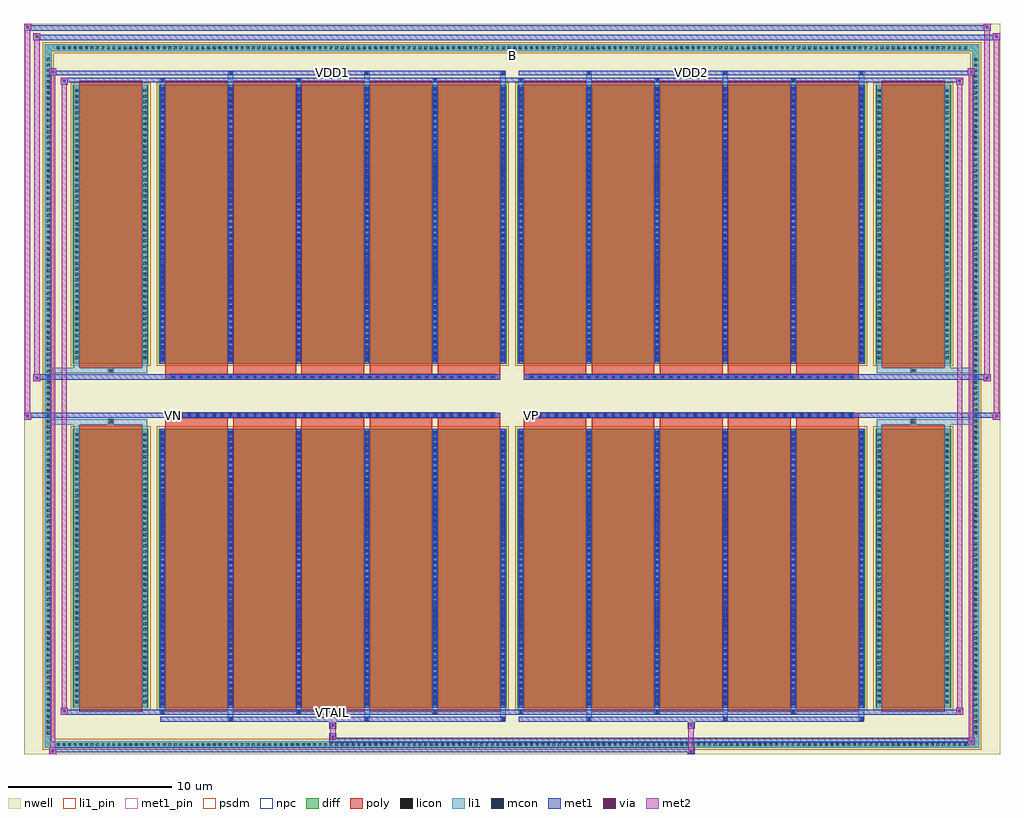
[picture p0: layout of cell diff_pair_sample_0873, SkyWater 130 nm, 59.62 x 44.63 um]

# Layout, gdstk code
import gdstk
lib = gdstk.Library(unit=1e-6, precision=5e-09)
def R(c, l, rs):  # rectangles x0, y0, x1, y1
    for r in rs: c.add(gdstk.rectangle(r[:2], r[2:], *l))
def A(c, l, x, y, w, h, nx, ny, dx, dy):  # array of equal rectangles
    R(c, l, [(x+i*dx, y+j*dy, x+i*dx+w, y+j*dy+h) for i in range(nx) for j in range(ny)])
def P(c, l, *ps):  # polygons
    for p in ps: c.add(gdstk.Polygon(p, *l))
nwell = (64, 20)
diff = (65, 20)
poly = (66, 20)
licon = (66, 44)
li1_pin = (67, 16)
li1 = (67, 20)
mcon = (67, 44)
met1_pin = (68, 16)
met1 = (68, 20)
via = (68, 44)
met2 = (69, 20)
psdm = (94, 20)
npc = (95, 20)

diff_pair_sample_0873 = lib.new_cell('diff_pair_sample_0873')
R(diff_pair_sample_0873, nwell, [(-29.81,-21.88,29.81,22.75), (-27.13,-20.07,-0.01,-0.805), (0.01,-20.07,27.13,-0.805), (-27.13,0.805,-0.01,20.07), (0.01,0.805,27.13,20.07)])
A(diff_pair_sample_0873, diff, -27.915, -21.48, 0.41, 0.41, 164, 2, 0.34, 42.55)
A(diff_pair_sample_0873, diff, -28.54, -20.775, 0.41, 0.41, 1, 122, 0, 0.34)
A(diff_pair_sample_0873, diff, 28.13, -20.775, 0.41, 0.41, 1, 122, 0, 0.34)
R(diff_pair_sample_0873, diff, [(-27.915,-21.48,27.915,-21.07), (-28.54,-20.775,-28.13,20.775), (28.13,-20.775,28.54,20.775), (-26.82,-19.025,-22.21,-1.985), (-21.57,-19.025,-0.32,-1.985), (0.32,-19.025,21.57,-1.985), (22.21,-19.025,26.82,-1.985), (-26.82,1.985,-22.21,19.025), (-21.57,1.985,-0.32,19.025), (0.32,1.985,21.57,19.025), (22.21,1.985,26.82,19.025), (-27.915,21.07,27.915,21.48)])
P(diff_pair_sample_0873, diff, [(28.54,21.48),(-28.54,21.48),(-28.54,-21.07),(-28.13,-21.07),(-28.13,21.07),(28.13,21.07),(28.13,-21.07),(-28.13,-21.07),(-28.54,-21.07),(-28.54,-21.48),(28.54,-21.48)])
A(diff_pair_sample_0873, poly, -21.18, -19.275, 3.83, 17.54, 5, 2, 4.16, 21.01)
A(diff_pair_sample_0873, poly, 0.71, -19.275, 3.83, 17.54, 5, 2, 4.16, 21.01)
A(diff_pair_sample_0873, poly, -21.18, -1.735, 3.83, 0.4, 5, 2, 4.16, 3.07)
A(diff_pair_sample_0873, poly, 0.71, -1.735, 3.83, 0.4, 5, 2, 4.16, 3.07)
A(diff_pair_sample_0873, poly, -20.86, -1.335, 0.33, 0.33, 40, 2, 0.5, 2.34)
A(diff_pair_sample_0873, poly, 1.03, -1.335, 0.33, 0.33, 40, 2, 0.5, 2.34)
R(diff_pair_sample_0873, poly, [(-26.43,-19.275,-22.6,-1.735), (22.6,-19.275,26.43,-1.735), (-24.68,-1.735,-24.35,-1.405), (-24.68,-1.735,-24.35,-1.405), (24.35,-1.735,24.68,-1.405), (24.35,-1.735,24.68,-1.405), (-21.18,-1.335,-0.71,-1.005), (0.71,-1.335,21.18,-1.005), (-21.18,1.005,-0.71,1.335), (0.71,1.005,21.18,1.335), (-24.68,1.405,-24.35,1.735), (-24.68,1.405,-24.35,1.735), (24.35,1.405,24.68,1.735), (24.35,1.405,24.68,1.735), (-26.43,1.735,-22.6,19.275), (22.6,1.735,26.43,19.275)])
A(diff_pair_sample_0873, licon, -27.795, -21.36, 0.17, 0.17, 164, 2, 0.34, 42.55)
A(diff_pair_sample_0873, licon, -28.42, -20.655, 0.17, 0.17, 1, 122, 0, 0.34)
A(diff_pair_sample_0873, licon, 28.25, -20.655, 0.17, 0.17, 1, 122, 0, 0.34)
A(diff_pair_sample_0873, licon, -26.68, -18.75, 0.17, 0.17, 1, 49, 0, 0.34)
A(diff_pair_sample_0873, licon, -22.52, -18.75, 0.17, 0.17, 1, 49, 0, 0.34)
A(diff_pair_sample_0873, licon, -21.43, -18.75, 0.17, 0.17, 6, 49, 4.16, 0.34)
A(diff_pair_sample_0873, licon, 0.46, -18.75, 0.17, 0.17, 6, 49, 4.16, 0.34)
A(diff_pair_sample_0873, licon, 22.35, -18.75, 0.17, 0.17, 1, 49, 0, 0.34)
A(diff_pair_sample_0873, licon, 26.51, -18.75, 0.17, 0.17, 1, 49, 0, 0.34)
A(diff_pair_sample_0873, licon, -20.78, -1.255, 0.17, 0.17, 40, 2, 0.5, 2.34)
A(diff_pair_sample_0873, licon, 1.11, -1.255, 0.17, 0.17, 40, 2, 0.5, 2.34)
A(diff_pair_sample_0873, licon, -26.68, 2.26, 0.17, 0.17, 1, 49, 0, 0.34)
A(diff_pair_sample_0873, licon, -22.52, 2.26, 0.17, 0.17, 1, 49, 0, 0.34)
A(diff_pair_sample_0873, licon, -21.43, 2.26, 0.17, 0.17, 6, 49, 4.16, 0.34)
A(diff_pair_sample_0873, licon, 0.46, 2.26, 0.17, 0.17, 6, 49, 4.16, 0.34)
A(diff_pair_sample_0873, licon, 22.35, 2.26, 0.17, 0.17, 1, 49, 0, 0.34)
A(diff_pair_sample_0873, licon, 26.51, 2.26, 0.17, 0.17, 1, 49, 0, 0.34)
R(diff_pair_sample_0873, licon, [(-24.6,-1.655,-24.43,-1.485), (24.43,-1.655,24.6,-1.485), (-24.6,1.485,-24.43,1.655), (24.43,1.485,24.6,1.655)])
R(diff_pair_sample_0873, li1_pin, [(-0.25,20.57,0.25,21.07)])
A(diff_pair_sample_0873, li1, -27.875, -21.44, 0.33, 0.33, 164, 2, 0.34, 42.55)
A(diff_pair_sample_0873, li1, -28.5, -20.735, 0.33, 0.33, 1, 122, 0, 0.34)
A(diff_pair_sample_0873, li1, 28.17, -20.735, 0.33, 0.33, 1, 122, 0, 0.34)
A(diff_pair_sample_0873, li1, -17.35, -19.83, 0.33, 0.805, 3, 2, 8.32, 38.855)
A(diff_pair_sample_0873, li1, -17.27, -19.83, 0.17, 0.17, 3, 2, 8.32, 39.49)
A(diff_pair_sample_0873, li1, 4.54, -19.83, 0.33, 0.805, 3, 2, 8.32, 38.855)
A(diff_pair_sample_0873, li1, 4.62, -19.83, 0.17, 0.17, 3, 2, 8.32, 39.49)
A(diff_pair_sample_0873, li1, -21.51, -19.4, 0.33, 0.375, 3, 2, 8.32, 38.425)
A(diff_pair_sample_0873, li1, -21.43, -19.4, 0.17, 0.17, 3, 2, 8.32, 38.63)
A(diff_pair_sample_0873, li1, 0.38, -19.4, 0.33, 0.375, 3, 2, 8.32, 38.425)
A(diff_pair_sample_0873, li1, 0.46, -19.4, 0.17, 0.17, 3, 2, 8.32, 38.63)
A(diff_pair_sample_0873, li1, -21.51, -19.025, 0.33, 17.04, 6, 2, 4.16, 21.01)
A(diff_pair_sample_0873, li1, 0.38, -19.025, 0.33, 17.04, 6, 2, 4.16, 21.01)
A(diff_pair_sample_0873, li1, -21.43, -18.87, 0.17, 0.17, 6, 47, 4.16, 0.36)
A(diff_pair_sample_0873, li1, -21.43, -18.87, 0.17, 16.73, 6, 2, 4.16, 21.01)
A(diff_pair_sample_0873, li1, 0.46, -18.87, 0.17, 0.17, 6, 47, 4.16, 0.36)
A(diff_pair_sample_0873, li1, 0.46, -18.87, 0.17, 16.73, 6, 2, 4.16, 21.01)
A(diff_pair_sample_0873, li1, -26.76, -18.83, 0.33, 0.33, 1, 49, 0, 0.34)
A(diff_pair_sample_0873, li1, -22.6, -18.83, 0.33, 0.33, 1, 49, 0, 0.34)
A(diff_pair_sample_0873, li1, -21.51, -18.83, 0.33, 0.33, 6, 49, 4.16, 0.34)
A(diff_pair_sample_0873, li1, 0.38, -18.83, 0.33, 0.33, 6, 49, 4.16, 0.34)
A(diff_pair_sample_0873, li1, 22.27, -18.83, 0.33, 0.33, 1, 49, 0, 0.34)
A(diff_pair_sample_0873, li1, 26.43, -18.83, 0.33, 0.33, 1, 49, 0, 0.34)
A(diff_pair_sample_0873, li1, -20.86, -1.335, 0.33, 0.33, 40, 2, 0.5, 2.34)
A(diff_pair_sample_0873, li1, 1.03, -1.335, 0.33, 0.33, 40, 2, 0.5, 2.34)
A(diff_pair_sample_0873, li1, -21.43, 2.14, 0.17, 0.17, 6, 47, 4.16, 0.36)
A(diff_pair_sample_0873, li1, 0.46, 2.14, 0.17, 0.17, 6, 47, 4.16, 0.36)
A(diff_pair_sample_0873, li1, -26.76, 2.18, 0.33, 0.33, 1, 49, 0, 0.34)
A(diff_pair_sample_0873, li1, -22.6, 2.18, 0.33, 0.33, 1, 49, 0, 0.34)
A(diff_pair_sample_0873, li1, -21.51, 2.18, 0.33, 0.33, 6, 49, 4.16, 0.34)
A(diff_pair_sample_0873, li1, 0.38, 2.18, 0.33, 0.33, 6, 49, 4.16, 0.34)
A(diff_pair_sample_0873, li1, 22.27, 2.18, 0.33, 0.33, 1, 49, 0, 0.34)
A(diff_pair_sample_0873, li1, 26.43, 2.18, 0.33, 0.33, 1, 49, 0, 0.34)
R(diff_pair_sample_0873, li1, [(-28.54,-21.48,-28.13,-21.07), (-28.54,-21.48,-28.13,-21.07), (-28.13,-21.48,28.13,-21.07), (28.13,-21.48,28.54,-21.07), (28.13,-21.48,28.54,-21.07), (-28.54,-21.07,-28.13,21.07), (28.13,-21.07,28.54,21.07), (-26.76,-19.025,-26.43,-1.985), (-22.6,-19.025,-22.27,-1.985), (22.27,-19.025,22.6,-1.985), (26.43,-19.025,26.76,-1.985), (-26.76,-1.985,-26.43,-1.405), (-22.6,-1.985,-22.27,-1.405), (22.27,-1.985,22.6,-1.405), (26.43,-1.985,26.76,-1.405), (-28.54,-1.735,-24.68,-1.405), (-26.76,-1.735,-24.68,-1.405), (-24.68,-1.735,-24.35,-1.405), (-24.35,-1.735,-22.27,-1.405), (22.27,-1.735,24.35,-1.405), (24.35,-1.735,24.68,-1.405), (24.35,-1.735,28.54,-1.405), (24.68,-1.735,26.76,-1.405), (-28.54,1.405,-24.68,1.735), (-26.76,1.405,-24.68,1.735), (-26.76,1.405,-26.43,1.985), (-24.68,1.405,-24.35,1.735), (-24.35,1.405,-22.27,1.735), (-22.6,1.405,-22.27,1.985), (22.27,1.405,24.35,1.735), (22.27,1.405,22.6,1.985), (24.35,1.405,24.68,1.735), (24.35,1.405,28.54,1.735), (24.68,1.405,26.76,1.735), (26.43,1.405,26.76,1.985), (-26.76,1.985,-26.43,19.025), (-22.6,1.985,-22.27,19.025), (22.27,1.985,22.6,19.025), (26.43,1.985,26.76,19.025), (-28.54,21.07,-28.13,21.48), (-28.54,21.07,-28.13,21.48), (-28.13,21.07,28.13,21.48), (28.13,21.07,28.54,21.48), (28.13,21.07,28.54,21.48)])
A(diff_pair_sample_0873, mcon, -17.27, -19.83, 0.17, 0.17, 3, 2, 8.32, 39.49)
A(diff_pair_sample_0873, mcon, 4.62, -19.83, 0.17, 0.17, 3, 2, 8.32, 39.49)
A(diff_pair_sample_0873, mcon, -21.43, -19.4, 0.17, 0.17, 3, 2, 8.32, 38.63)
A(diff_pair_sample_0873, mcon, 0.46, -19.4, 0.17, 0.17, 3, 2, 8.32, 38.63)
A(diff_pair_sample_0873, mcon, -21.43, -18.87, 0.17, 0.17, 6, 47, 4.16, 0.36)
A(diff_pair_sample_0873, mcon, 0.46, -18.87, 0.17, 0.17, 6, 47, 4.16, 0.36)
A(diff_pair_sample_0873, mcon, -20.78, -1.255, 0.17, 0.17, 40, 2, 0.5, 2.34)
A(diff_pair_sample_0873, mcon, 1.11, -1.255, 0.17, 0.17, 40, 2, 0.5, 2.34)
A(diff_pair_sample_0873, mcon, -21.43, 2.14, 0.17, 0.17, 6, 47, 4.16, 0.36)
A(diff_pair_sample_0873, mcon, 0.46, 2.14, 0.17, 0.17, 6, 47, 4.16, 0.36)
R(diff_pair_sample_0873, met1_pin, [(-11.08,-19.44,-10.81,-19.17), (-20.83,-1.295,-20.56,-1.025), (1.06,-1.295,1.33,-1.025), (-11.08,19.62,-10.81,19.89), (10.81,19.62,11.08,19.89)])
A(diff_pair_sample_0873, met1, -17.33, -19.89, 0.29, 0.29, 3, 2, 8.32, 39.49)
A(diff_pair_sample_0873, met1, 4.56, -19.89, 0.29, 0.29, 3, 2, 8.32, 39.49)
A(diff_pair_sample_0873, met1, -21.49, -19.46, 0.29, 0.29, 3, 2, 8.32, 38.63)
A(diff_pair_sample_0873, met1, 0.4, -19.46, 0.29, 0.29, 3, 2, 8.32, 38.63)
A(diff_pair_sample_0873, met1, -21.49, -19.025, 0.29, 17.04, 6, 2, 4.16, 21.01)
A(diff_pair_sample_0873, met1, 0.4, -19.025, 0.29, 17.04, 6, 2, 4.16, 21.01)
A(diff_pair_sample_0873, met1, -21.49, -18.93, 0.29, 0.29, 6, 47, 4.16, 0.36)
A(diff_pair_sample_0873, met1, 0.4, -18.93, 0.29, 0.29, 6, 47, 4.16, 0.36)
A(diff_pair_sample_0873, met1, -20.84, -1.315, 0.29, 0.29, 40, 2, 0.5, 2.34)
A(diff_pair_sample_0873, met1, 1.05, -1.315, 0.29, 0.29, 40, 2, 0.5, 2.34)
A(diff_pair_sample_0873, met1, -21.49, 2.08, 0.29, 0.29, 6, 47, 4.16, 0.36)
A(diff_pair_sample_0873, met1, 0.4, 2.08, 0.29, 0.29, 6, 47, 4.16, 0.36)
R(diff_pair_sample_0873, met1, [(-28.27,-21.88,-27.84,-21.45), (10.73,-21.88,11.16,-21.45), (-28.27,-21.74,11.16,-21.45), (27.84,-21.31,28.27,-20.88), (-11.16,-21.17,28.27,-20.88), (-11.16,-21.03,-10.73,-20.6), (-11.16,-20.32,-10.73,-19.89), (10.73,-20.32,11.16,-19.89), (-21.49,-19.89,-0.4,-19.6), (0.4,-19.89,21.49,-19.6), (-27.56,-19.46,-27.13,-19.03), (-27.56,-19.46,-21.49,-19.17), (-21.49,-19.46,-0.4,-19.17), (-0.4,-19.46,0.4,-19.17), (0.4,-19.46,21.49,-19.17), (21.49,-19.46,27.56,-19.17), (27.13,-19.46,27.56,-19.03), (-29.81,-1.435,-29.38,-1.005), (29.38,-1.435,29.81,-1.005), (-29.81,-1.335,-0.71,-1.005), (-21.18,-1.335,-0.71,-1.005), (0.71,-1.335,21.18,-1.005), (0.71,-1.335,29.81,-1.005), (-29.24,0.905,-28.81,1.335), (28.81,0.905,29.24,1.335), (-29.24,1.005,-21.18,1.335), (-21.18,1.005,-0.71,1.335), (0.71,1.005,21.18,1.335), (21.18,1.005,29.24,1.335), (-27.56,19.03,-27.13,19.46), (27.13,19.03,27.56,19.46), (-27.56,19.17,-21.49,19.46), (-21.49,19.17,-0.4,19.46), (-0.4,19.17,0.4,19.46), (0.4,19.17,21.49,19.46), (21.49,19.17,27.56,19.46), (-28.27,19.6,-27.84,20.03), (-28.27,19.6,-21.49,19.89), (-21.49,19.6,-0.4,19.89), (0.4,19.6,21.49,19.89), (21.49,19.6,28.27,19.89), (27.84,19.6,28.27,20.03), (-29.24,21.75,-28.81,22.18), (-29.24,21.75,-27.13,22.08), (-27.13,21.75,27.13,22.08), (27.13,21.75,29.81,22.08), (29.38,21.75,29.81,22.18), (-29.81,22.32,-29.38,22.75), (-29.81,22.32,-27.13,22.65), (-27.13,22.32,27.13,22.65), (27.13,22.32,29.24,22.65), (28.81,22.32,29.24,22.75)])
R(diff_pair_sample_0873, via, [(-28.13,-21.74,-27.98,-21.59), (10.87,-21.74,11.02,-21.59), (27.98,-21.17,28.13,-21.02), (-11.02,-20.89,-10.87,-20.74), (-11.02,-20.18,-10.87,-20.03), (10.87,-20.18,11.02,-20.03), (-27.42,-19.32,-27.27,-19.17), (27.27,-19.32,27.42,-19.17), (-29.67,-1.295,-29.52,-1.145), (29.52,-1.295,29.67,-1.145), (-29.1,1.045,-28.95,1.195), (28.95,1.045,29.1,1.195), (-27.42,19.17,-27.27,19.32), (27.27,19.17,27.42,19.32), (-28.13,19.74,-27.98,19.89), (27.98,19.74,28.13,19.89), (-29.1,21.89,-28.95,22.04), (29.52,21.89,29.67,22.04), (-29.67,22.46,-29.52,22.61), (28.95,22.46,29.1,22.61)])
R(diff_pair_sample_0873, met2, [(-28.27,-21.88,-27.84,-21.45), (-28.2,-21.88,-27.91,20.03), (-27.91,-21.88,-27.84,-21.45), (-28.22,-21.83,-27.89,-21.5), (10.78,-21.83,11.11,-21.5), (10.78,-21.5,11.11,-20.27), (27.84,-21.31,28.27,-20.88), (27.91,-21.31,28.2,20.03), (28.2,-21.31,28.27,-20.88), (27.89,-21.26,28.22,-20.93), (-11.11,-20.98,-10.78,-20.65), (-11.11,-20.65,-10.78,-20.27), (-11.11,-20.27,-10.78,-19.94), (10.78,-20.27,11.11,-19.94), (-27.56,-19.46,-27.13,-19.03), (-27.49,-19.46,-27.2,19.46), (-27.2,-19.46,-27.13,-19.03), (27.13,-19.46,27.56,-19.03), (27.2,-19.46,27.49,19.46), (27.49,-19.46,27.56,-19.03), (-27.51,-19.41,-27.18,-19.08), (27.18,-19.41,27.51,-19.08), (-29.81,-1.435,-29.38,-1.005), (-29.76,-1.435,-29.43,22.75), (-29.43,-1.435,-29.38,-1.005), (29.38,-1.435,29.81,-1.005), (29.43,-1.435,29.76,22.18), (29.76,-1.435,29.81,-1.005), (-29.76,-1.385,-29.43,-1.055), (29.43,-1.385,29.76,-1.055), (-29.24,0.905,-28.81,1.335), (-29.19,0.905,-28.86,22.18), (-28.86,0.905,-28.81,1.335), (28.81,0.905,29.24,1.335), (28.86,0.905,29.19,22.75), (29.19,0.905,29.24,1.335), (-29.19,0.955,-28.86,1.285), (28.86,0.955,29.19,1.285), (-27.56,19.03,-27.13,19.46), (-27.2,19.03,-27.13,19.46), (27.13,19.03,27.56,19.46), (27.49,19.03,27.56,19.46), (-27.51,19.08,-27.18,19.41), (27.18,19.08,27.51,19.41), (-28.27,19.6,-27.84,20.03), (-27.91,19.6,-27.84,20.03), (27.84,19.6,28.27,20.03), (28.2,19.6,28.27,20.03), (-28.22,19.65,-27.89,19.98), (27.89,19.65,28.22,19.98), (-29.24,21.75,-28.81,22.18), (-28.86,21.75,-28.81,22.18), (29.38,21.75,29.81,22.18), (29.76,21.75,29.81,22.18), (-29.19,21.8,-28.86,22.13), (29.43,21.8,29.76,22.13), (-29.81,22.32,-29.38,22.75), (-29.43,22.32,-29.38,22.75), (28.81,22.32,29.24,22.75), (29.19,22.32,29.24,22.75), (-29.76,22.37,-29.43,22.7), (28.86,22.37,29.19,22.7)])
R(diff_pair_sample_0873, psdm, [(-26.95,-19.155,-22.08,-1.855), (-21.7,-19.155,-0.19,-1.855), (0.19,-19.155,21.7,-1.855), (22.08,-19.155,26.95,-1.855), (-26.95,1.855,-22.08,19.155), (-21.7,1.855,-0.19,19.155), (0.19,1.855,21.7,19.155), (22.08,1.855,26.95,19.155)])
P(diff_pair_sample_0873, psdm, [(28.67,21.61),(-28.67,21.61),(-28.67,-20.94),(-28,-20.94),(-28,20.94),(28,20.94),(28,-20.94),(-28,-20.94),(-28.67,-20.94),(-28.67,-21.61),(28.67,-21.61)])
A(diff_pair_sample_0873, npc, -20.88, -1.355, 0.37, 0.37, 40, 2, 0.5, 2.34)
A(diff_pair_sample_0873, npc, 1.01, -1.355, 0.37, 0.37, 40, 2, 0.5, 2.34)
R(diff_pair_sample_0873, npc, [(-24.7,-1.755,-24.33,-1.385), (24.33,-1.755,24.7,-1.385), (-20.88,-1.355,-20.01,-0.985), (-20.88,-1.355,-20.01,-0.985), (-20.38,-1.355,-19.51,-0.985), (-20.38,-1.355,-19.51,-0.985), (-19.88,-1.355,-19.01,-0.985), (-19.88,-1.355,-19.01,-0.985), (-19.38,-1.355,-18.51,-0.985), (-19.38,-1.355,-18.51,-0.985), (-18.88,-1.355,-18.01,-0.985), (-18.88,-1.355,-18.01,-0.985), (-18.38,-1.355,-17.51,-0.985), (-18.38,-1.355,-17.51,-0.985), (-17.88,-1.355,-17.01,-0.985), (-17.88,-1.355,-17.01,-0.985), (-17.38,-1.355,-16.51,-0.985), (-17.38,-1.355,-16.51,-0.985), (-16.88,-1.355,-16.01,-0.985), (-16.88,-1.355,-16.01,-0.985), (-16.38,-1.355,-15.51,-0.985), (-16.38,-1.355,-15.51,-0.985), (-15.88,-1.355,-15.01,-0.985), (-15.88,-1.355,-15.01,-0.985), (-15.38,-1.355,-14.51,-0.985), (-15.38,-1.355,-14.51,-0.985), (-14.88,-1.355,-14.01,-0.985), (-14.88,-1.355,-14.01,-0.985), (-14.38,-1.355,-13.51,-0.985), (-14.38,-1.355,-13.51,-0.985), (-13.88,-1.355,-13.01,-0.985), (-13.88,-1.355,-13.01,-0.985), (-13.38,-1.355,-12.51,-0.985), (-13.38,-1.355,-12.51,-0.985), (-12.88,-1.355,-12.01,-0.985), (-12.88,-1.355,-12.01,-0.985), (-12.38,-1.355,-11.51,-0.985), (-12.38,-1.355,-11.51,-0.985), (-11.88,-1.355,-11.01,-0.985), (-11.88,-1.355,-11.01,-0.985), (-11.38,-1.355,-10.51,-0.985), (-11.38,-1.355,-10.51,-0.985), (-10.88,-1.355,-10.01,-0.985), (-10.88,-1.355,-10.01,-0.985), (-10.38,-1.355,-9.51,-0.985), (-10.38,-1.355,-9.51,-0.985), (-9.88,-1.355,-9.01,-0.985), (-9.88,-1.355,-9.01,-0.985), (-9.38,-1.355,-8.51,-0.985), (-9.38,-1.355,-8.51,-0.985), (-8.88,-1.355,-8.01,-0.985), (-8.88,-1.355,-8.01,-0.985), (-8.38,-1.355,-7.51,-0.985), (-8.38,-1.355,-7.51,-0.985), (-7.88,-1.355,-7.01,-0.985), (-7.88,-1.355,-7.01,-0.985), (-7.38,-1.355,-6.51,-0.985), (-7.38,-1.355,-6.51,-0.985), (-6.88,-1.355,-6.01,-0.985), (-6.88,-1.355,-6.01,-0.985), (-6.38,-1.355,-5.51,-0.985), (-6.38,-1.355,-5.51,-0.985), (-5.88,-1.355,-5.01,-0.985), (-5.88,-1.355,-5.01,-0.985), (-5.38,-1.355,-4.51,-0.985), (-5.38,-1.355,-4.51,-0.985), (-4.88,-1.355,-4.01,-0.985), (-4.88,-1.355,-4.01,-0.985), (-4.38,-1.355,-3.51,-0.985), (-4.38,-1.355,-3.51,-0.985), (-3.88,-1.355,-3.01,-0.985), (-3.88,-1.355,-3.01,-0.985), (-3.38,-1.355,-2.51,-0.985), (-3.38,-1.355,-2.51,-0.985), (-2.88,-1.355,-2.01,-0.985), (-2.88,-1.355,-2.01,-0.985), (-2.38,-1.355,-1.51,-0.985), (-2.38,-1.355,-1.51,-0.985), (-1.88,-1.355,-1.01,-0.985), (-1.88,-1.355,-1.01,-0.985), (1.01,-1.355,1.88,-0.985), (1.01,-1.355,1.88,-0.985), (1.51,-1.355,2.38,-0.985), (1.51,-1.355,2.38,-0.985), (2.01,-1.355,2.88,-0.985), (2.01,-1.355,2.88,-0.985), (2.51,-1.355,3.38,-0.985), (2.51,-1.355,3.38,-0.985), (3.01,-1.355,3.88,-0.985), (3.01,-1.355,3.88,-0.985), (3.51,-1.355,4.38,-0.985), (3.51,-1.355,4.38,-0.985), (4.01,-1.355,4.88,-0.985), (4.01,-1.355,4.88,-0.985), (4.51,-1.355,5.38,-0.985), (4.51,-1.355,5.38,-0.985), (5.01,-1.355,5.88,-0.985), (5.01,-1.355,5.88,-0.985), (5.51,-1.355,6.38,-0.985), (5.51,-1.355,6.38,-0.985), (6.01,-1.355,6.88,-0.985), (6.01,-1.355,6.88,-0.985), (6.51,-1.355,7.38,-0.985), (6.51,-1.355,7.38,-0.985), (7.01,-1.355,7.88,-0.985), (7.01,-1.355,7.88,-0.985), (7.51,-1.355,8.38,-0.985), (7.51,-1.355,8.38,-0.985), (8.01,-1.355,8.88,-0.985), (8.01,-1.355,8.88,-0.985), (8.51,-1.355,9.38,-0.985), (8.51,-1.355,9.38,-0.985), (9.01,-1.355,9.88,-0.985), (9.01,-1.355,9.88,-0.985), (9.51,-1.355,10.38,-0.985), (9.51,-1.355,10.38,-0.985), (10.01,-1.355,10.88,-0.985), (10.01,-1.355,10.88,-0.985), (10.51,-1.355,11.38,-0.985), (10.51,-1.355,11.38,-0.985), (11.01,-1.355,11.88,-0.985), (11.01,-1.355,11.88,-0.985), (11.51,-1.355,12.38,-0.985), (11.51,-1.355,12.38,-0.985), (12.01,-1.355,12.88,-0.985), (12.01,-1.355,12.88,-0.985), (12.51,-1.355,13.38,-0.985), (12.51,-1.355,13.38,-0.985), (13.01,-1.355,13.88,-0.985), (13.01,-1.355,13.88,-0.985), (13.51,-1.355,14.38,-0.985), (13.51,-1.355,14.38,-0.985), (14.01,-1.355,14.88,-0.985), (14.01,-1.355,14.88,-0.985), (14.51,-1.355,15.38,-0.985), (14.51,-1.355,15.38,-0.985), (15.01,-1.355,15.88,-0.985), (15.01,-1.355,15.88,-0.985), (15.51,-1.355,16.38,-0.985), (15.51,-1.355,16.38,-0.985), (16.01,-1.355,16.88,-0.985), (16.01,-1.355,16.88,-0.985), (16.51,-1.355,17.38,-0.985), (16.51,-1.355,17.38,-0.985), (17.01,-1.355,17.88,-0.985), (17.01,-1.355,17.88,-0.985), (17.51,-1.355,18.38,-0.985), (17.51,-1.355,18.38,-0.985), (18.01,-1.355,18.88,-0.985), (18.01,-1.355,18.88,-0.985), (18.51,-1.355,19.38,-0.985), (18.51,-1.355,19.38,-0.985), (19.01,-1.355,19.88,-0.985), (19.01,-1.355,19.88,-0.985), (19.51,-1.355,20.38,-0.985), (19.51,-1.355,20.38,-0.985), (20.01,-1.355,20.88,-0.985), (20.01,-1.355,20.88,-0.985), (-20.88,0.985,-20.01,1.355), (-20.88,0.985,-20.01,1.355), (-20.38,0.985,-19.51,1.355), (-20.38,0.985,-19.51,1.355), (-19.88,0.985,-19.01,1.355), (-19.88,0.985,-19.01,1.355), (-19.38,0.985,-18.51,1.355), (-19.38,0.985,-18.51,1.355), (-18.88,0.985,-18.01,1.355), (-18.88,0.985,-18.01,1.355), (-18.38,0.985,-17.51,1.355), (-18.38,0.985,-17.51,1.355), (-17.88,0.985,-17.01,1.355), (-17.88,0.985,-17.01,1.355), (-17.38,0.985,-16.51,1.355), (-17.38,0.985,-16.51,1.355), (-16.88,0.985,-16.01,1.355), (-16.88,0.985,-16.01,1.355), (-16.38,0.985,-15.51,1.355), (-16.38,0.985,-15.51,1.355), (-15.88,0.985,-15.01,1.355), (-15.88,0.985,-15.01,1.355), (-15.38,0.985,-14.51,1.355), (-15.38,0.985,-14.51,1.355), (-14.88,0.985,-14.01,1.355), (-14.88,0.985,-14.01,1.355), (-14.38,0.985,-13.51,1.355), (-14.38,0.985,-13.51,1.355), (-13.88,0.985,-13.01,1.355), (-13.88,0.985,-13.01,1.355), (-13.38,0.985,-12.51,1.355), (-13.38,0.985,-12.51,1.355), (-12.88,0.985,-12.01,1.355), (-12.88,0.985,-12.01,1.355), (-12.38,0.985,-11.51,1.355), (-12.38,0.985,-11.51,1.355), (-11.88,0.985,-11.01,1.355), (-11.88,0.985,-11.01,1.355), (-11.38,0.985,-10.51,1.355), (-11.38,0.985,-10.51,1.355), (-10.88,0.985,-10.01,1.355), (-10.88,0.985,-10.01,1.355), (-10.38,0.985,-9.51,1.355), (-10.38,0.985,-9.51,1.355), (-9.88,0.985,-9.01,1.355), (-9.88,0.985,-9.01,1.355), (-9.38,0.985,-8.51,1.355), (-9.38,0.985,-8.51,1.355), (-8.88,0.985,-8.01,1.355), (-8.88,0.985,-8.01,1.355), (-8.38,0.985,-7.51,1.355), (-8.38,0.985,-7.51,1.355), (-7.88,0.985,-7.01,1.355), (-7.88,0.985,-7.01,1.355), (-7.38,0.985,-6.51,1.355), (-7.38,0.985,-6.51,1.355), (-6.88,0.985,-6.01,1.355), (-6.88,0.985,-6.01,1.355), (-6.38,0.985,-5.51,1.355), (-6.38,0.985,-5.51,1.355), (-5.88,0.985,-5.01,1.355), (-5.88,0.985,-5.01,1.355), (-5.38,0.985,-4.51,1.355), (-5.38,0.985,-4.51,1.355), (-4.88,0.985,-4.01,1.355), (-4.88,0.985,-4.01,1.355), (-4.38,0.985,-3.51,1.355), (-4.38,0.985,-3.51,1.355), (-3.88,0.985,-3.01,1.355), (-3.88,0.985,-3.01,1.355), (-3.38,0.985,-2.51,1.355), (-3.38,0.985,-2.51,1.355), (-2.88,0.985,-2.01,1.355), (-2.88,0.985,-2.01,1.355), (-2.38,0.985,-1.51,1.355), (-2.38,0.985,-1.51,1.355), (-1.88,0.985,-1.01,1.355), (-1.88,0.985,-1.01,1.355), (1.01,0.985,1.88,1.355), (1.01,0.985,1.88,1.355), (1.51,0.985,2.38,1.355), (1.51,0.985,2.38,1.355), (2.01,0.985,2.88,1.355), (2.01,0.985,2.88,1.355), (2.51,0.985,3.38,1.355), (2.51,0.985,3.38,1.355), (3.01,0.985,3.88,1.355), (3.01,0.985,3.88,1.355), (3.51,0.985,4.38,1.355), (3.51,0.985,4.38,1.355), (4.01,0.985,4.88,1.355), (4.01,0.985,4.88,1.355), (4.51,0.985,5.38,1.355), (4.51,0.985,5.38,1.355), (5.01,0.985,5.88,1.355), (5.01,0.985,5.88,1.355), (5.51,0.985,6.38,1.355), (5.51,0.985,6.38,1.355), (6.01,0.985,6.88,1.355), (6.01,0.985,6.88,1.355), (6.51,0.985,7.38,1.355), (6.51,0.985,7.38,1.355), (7.01,0.985,7.88,1.355), (7.01,0.985,7.88,1.355), (7.51,0.985,8.38,1.355), (7.51,0.985,8.38,1.355), (8.01,0.985,8.88,1.355), (8.01,0.985,8.88,1.355), (8.51,0.985,9.38,1.355), (8.51,0.985,9.38,1.355), (9.01,0.985,9.88,1.355), (9.01,0.985,9.88,1.355), (9.51,0.985,10.38,1.355), (9.51,0.985,10.38,1.355), (10.01,0.985,10.88,1.355), (10.01,0.985,10.88,1.355), (10.51,0.985,11.38,1.355), (10.51,0.985,11.38,1.355), (11.01,0.985,11.88,1.355), (11.01,0.985,11.88,1.355), (11.51,0.985,12.38,1.355), (11.51,0.985,12.38,1.355), (12.01,0.985,12.88,1.355), (12.01,0.985,12.88,1.355), (12.51,0.985,13.38,1.355), (12.51,0.985,13.38,1.355), (13.01,0.985,13.88,1.355), (13.01,0.985,13.88,1.355), (13.51,0.985,14.38,1.355), (13.51,0.985,14.38,1.355), (14.01,0.985,14.88,1.355), (14.01,0.985,14.88,1.355), (14.51,0.985,15.38,1.355), (14.51,0.985,15.38,1.355), (15.01,0.985,15.88,1.355), (15.01,0.985,15.88,1.355), (15.51,0.985,16.38,1.355), (15.51,0.985,16.38,1.355), (16.01,0.985,16.88,1.355), (16.01,0.985,16.88,1.355), (16.51,0.985,17.38,1.355), (16.51,0.985,17.38,1.355), (17.01,0.985,17.88,1.355), (17.01,0.985,17.88,1.355), (17.51,0.985,18.38,1.355), (17.51,0.985,18.38,1.355), (18.01,0.985,18.88,1.355), (18.01,0.985,18.88,1.355), (18.51,0.985,19.38,1.355), (18.51,0.985,19.38,1.355), (19.01,0.985,19.88,1.355), (19.01,0.985,19.88,1.355), (19.51,0.985,20.38,1.355), (19.51,0.985,20.38,1.355), (20.01,0.985,20.88,1.355), (20.01,0.985,20.88,1.355), (-24.7,1.385,-24.33,1.755), (24.33,1.385,24.7,1.755)])
diff_pair_sample_0873.add(gdstk.Label('VTAIL', (-10.945,-19.305), layer=68, texttype=5))
diff_pair_sample_0873.add(gdstk.Label('VN', (-20.695,-1.16), layer=68, texttype=5))
diff_pair_sample_0873.add(gdstk.Label('VP', (1.195,-1.16), layer=68, texttype=5))
diff_pair_sample_0873.add(gdstk.Label('B', (0,20.82), layer=67, texttype=5))
diff_pair_sample_0873.add(gdstk.Label('VDD2', (10.945,19.755), layer=68, texttype=5))
diff_pair_sample_0873.add(gdstk.Label('VDD1', (-10.945,19.755), layer=68, texttype=5))

lib.write_gds('diff_pair_sample_0873.gds')
